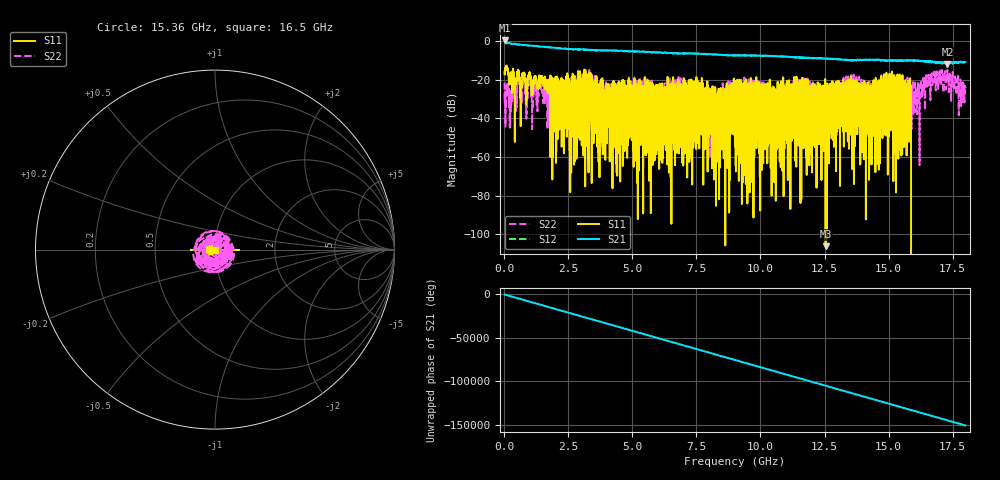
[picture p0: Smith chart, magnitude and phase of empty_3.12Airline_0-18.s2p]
!Created with skrf (http://scikit-rf.org).
# GHz S RI R 50.0
!freq ReS11 ImS11 ReS21 ImS21 ReS12 ImS12 ReS22 ImS22
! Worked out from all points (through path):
!   10000 points, 10 MHz to 18 GHz, reference 50 ohm
!   highest |S21| = 0.38 dB at 13.6 MHz (marker M1); lowest = -11.7 dB at 17.3 GHz (marker M2)
!   lowest |S11| = -106.2 dB at 12.54 GHz (marker M3), VSWR 1.00, Z = 50 + j0 ohm
!   |S11| at or under -10 dB: start of sweep to end of sweep
!   |S22| runs from -64.2 to -14.9 dB; largest |S21 - S12| = 0.46
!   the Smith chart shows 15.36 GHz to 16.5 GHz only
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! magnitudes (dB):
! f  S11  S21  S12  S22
! 10 MHz  -17.2  0.3  -0.2  -21.4
! 13.6 MHz  -15.5  0.4  -0.4  -28.8
! 648.7 MHz  -28.3  -1.7  -1.9  -34.3
! 1.491 GHz  -21.6  -2.8  -2.8  -21.9
! 2.097 GHz  -21.2  -3.6  -3.6  -21.6
! 3.009 GHz  -27.8  -4.2  -4.3  -20.7
! 6.008 GHz  -24.8  -5.8  -5.8  -29.4
! 7.71 GHz  -19.1  -6.7  -6.6  -23.3
! 8.347 GHz  -36.3  -7.0  -7.0  -25.7
! 9.006 GHz  -23.4  -7.5  -7.3  -26.5
! 9.835 GHz  -18.6  -7.6  -7.6  -22.1
! 10.48 GHz  -31.7  -7.8  -7.7  -26.1
! 12.01 GHz  -27.3  -8.7  -8.8  -22.5
! 12.54 GHz  -106.2  -9.1  -9.1  -28.7
! 12.96 GHz  -21.7  -9.2  -9.4  -34.3
! 13.39 GHz  -29.1  -9.7  -9.7  -26.3
! 14.31 GHz  -52.6  -9.6  -9.5  -33.0
! 15 GHz  -20.7  -10.0  -10.0  -20.5
! 15.79 GHz  -27.2  -10.0  -10.0  -26.3
! 15.97 GHz  -  -10.1  -10.0  -36.9
! 17.3 GHz  -  -11.7  -11.5  -16.2
! 18 GHz  -  -10.8  -10.7  -24.5
